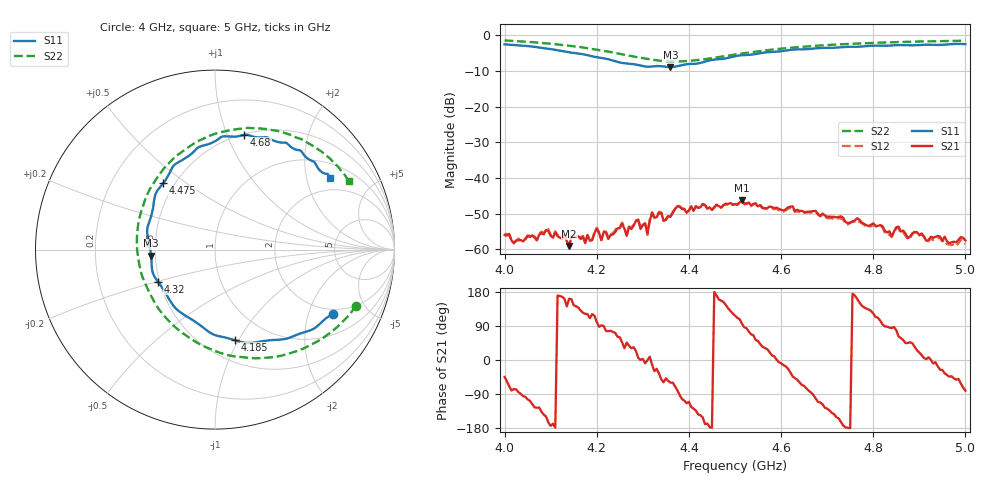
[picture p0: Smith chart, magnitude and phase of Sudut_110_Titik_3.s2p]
# Hz S RI R 50
! CMT, C1220, 16058040, 17.2.0/1
! Date: 15/08/2018 12:38:30
! Data: Format (Calibration Info)
! Freq  S11: Re/Im (F2)  S21: Re/Im (F2)  S12: Re/Im (F2)  S22: Re/Im (F2)
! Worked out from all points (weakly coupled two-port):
!   201 points, 4 GHz to 5 GHz, reference 50 ohm
!   highest |S21| = -46.29 dB at 4.515 GHz (marker M1); lowest = -59.1 dB at 4.14 GHz (marker M2)
!   lowest |S11| = -8.9 dB at 4.36 GHz (marker M3), VSWR 2.11, Z = 23.7 - j1.86 ohm
!   |S11| at or under -10 dB: nowhere
!   |S22| runs from -7.3 to -1.5 dB; largest |S21 - S12| = 0.0002
!   S11 on the Smith chart (normalised r, x): 4 GHz: 1.79, -2.89; 4.185 GHz: 0.70, -0.96; 4.32 GHz: 0.49, -0.20; 4.475 GHz: 0.43, +0.41; 4.68 GHz: 0.51, +1.15; 5 GHz: 1.50, +2.75
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4e9  0.6547 -0.358  0.00112 -0.00111  0.0012 -0.00111  0.7853 -0.3142
4.07e9  0.5024 -0.4584  -0.000783 -0.00108  -0.000726 -0.00113  0.6403 -0.464
4.09e9  0.4397 -0.4814  -0.0016 -0.000952  -0.00164 -0.00104  0.5856 -0.503
4.14e9  0.2701 -0.5098  -0.00106 0.000348  -0.00105 0.000333  0.4198 -0.5767
4.17e9  0.1595 -0.518  -0.000852 0.00123  -0.00087 0.00126  0.3036 -0.6011
4.185e9  0.1103 -0.504  -0.000462 0.00125  -0.000447 0.00123  0.2407 -0.6051
4.2e9  0.0546 -0.4891  -0.000341 0.00191  -0.00039 0.00196  0.1765 -0.602
4.21e9  0.0168 -0.4812  -3.23e-05 0.00134  -7.78e-05 0.00135  0.1324 -0.5976
4.255e9  -0.1339 -0.3865  0.00155 0.00164  0.00165 0.0017  -0.0661 -0.5366
4.265e9  -0.1745 -0.3616  0.00107 0.00111  0.00109 0.00116  -0.1074 -0.5141
4.29e9  -0.2442 -0.2942  0.00258 0.000256  0.00259 0.000216  -0.2096 -0.4423
4.31e9  -0.2915 -0.2155  0.00167 -1.19e-05  0.00159 -3.51e-05  -0.2796 -0.3728
4.32e9  -0.3184 -0.1787  0.00316 -0.000692  0.00323 -0.000694  -0.3124 -0.3328
4.335e9  -0.347 -0.1288  0.00261 -0.00188  0.00272 -0.00198  -0.3512 -0.2666
4.36e9  -0.3555 -0.0341  0.00143 -0.00246  0.00143 -0.00254  -0.4045 -0.1518
4.475e9  -0.2896 0.3699  -0.00373 0.00189  -0.00364 0.00198  -0.338 0.3762
4.5e9  -0.2429 0.4478  -0.00197 0.00382  -0.00188 0.00385  -0.2784 0.459
4.515e9  -0.2215 0.4762  -0.000523 0.00482  -0.000422 0.0048  -0.2366 0.5023
4.67e9  0.1453 0.6346  -0.000135 -0.00341  -0.000192 -0.00331  0.2084 0.6773
4.68e9  0.1631 0.6395  -0.00109 -0.00295  -0.00113 -0.00285  0.2353 0.6756
4.835e9  0.4473 0.5581  0.000136 0.00178  0.000103 0.00161  0.5509 0.5748
5e9  0.6387 0.3981  0.000205 -0.00131  0.000255 -0.00116  0.7473 0.3815
